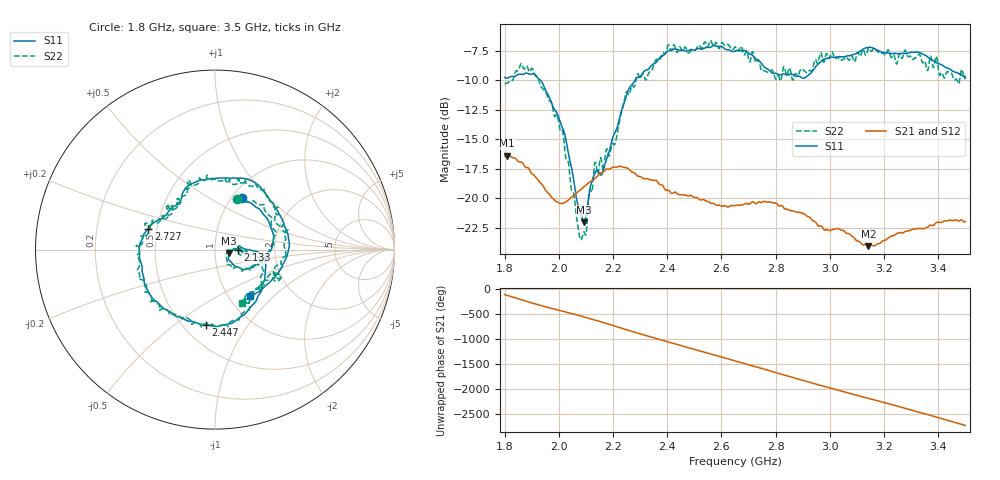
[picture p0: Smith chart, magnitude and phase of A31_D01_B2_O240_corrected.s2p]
! Created with skrf 1.9.0 (http://scikit-rf.org).
# Hz S RI R 50.0
!freq ReS11 ImS11 ReS21 ImS21 ReS12 ImS12 ReS22 ImS22
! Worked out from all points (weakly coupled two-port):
!   1601 points, 1.8 GHz to 3.5 GHz, reference 50 ohm
!   highest |S21| = -16.39 dB at 1.81 GHz (marker M1); lowest = -24.1 dB at 3.142 GHz (marker M2)
!   lowest |S11| = -22.0 dB at 2.093 GHz (marker M3), VSWR 1.17, Z = 58.2 - j2.43 ohm
!   |S11| at or under -10 dB: 1.932 GHz to 2.281 GHz (348.6 MHz wide, 16.5 % of centre)
!   |S22| runs from -23.5 to -6.6 dB; largest |S21 - S12| = 0.003
!   S11 on the Smith chart (normalised r, x): 1.8 GHz: 1.12, +0.72; 2.133 GHz: 1.29, -0.00; 2.447 GHz: 0.64, -0.65; 2.727 GHz: 0.45, +0.12; 3.5 GHz: 1.25, -0.72
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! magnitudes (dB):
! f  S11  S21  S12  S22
! 1.8 GHz  -9.8  -16.4  -16.4  -10.3
! 1.81 GHz  -9.8  -16.4  -16.4  -10.3
! 1.859 GHz  -9.5  -16.9  -17.0  -8.6
! 1.901 GHz  -9.5  -17.9  -17.9  -9.0
! 1.969 GHz  -11.7  -19.8  -19.8  -11.8
! 2.014 GHz  -14.0  -20.4  -20.4  -14.3
! 2.084 GHz  -21.5  -19.2  -19.2  -23.5
! 2.093 GHz  -22.0  -19.0  -19.1  -22.8
! 2.133 GHz  -17.9  -18.3  -18.3  -17.0
! 2.161 GHz  -17.8  -17.8  -17.8  -17.4
! 2.208 GHz  -14.4  -17.4  -17.3  -15.4
! 2.261 GHz  -10.6  -17.6  -17.6  -11.2
! 2.367 GHz  -8.2  -18.7  -18.7  -8.3
! 2.447 GHz  -7.5  -19.7  -19.7  -7.2
! 2.65 GHz  -7.6  -20.6  -20.6  -7.2
! 2.727 GHz  -8.2  -20.5  -20.5  -8.5
! 2.812 GHz  -9.5  -20.6  -20.5  -9.7
! 2.934 GHz  -9.3  -21.8  -21.8  -9.2
! 3.142 GHz  -7.2  -24.1  -24.0  -7.3
! 3.217 GHz  -7.7  -23.3  -23.3  -7.5
! 3.33 GHz  -7.7  -22.5  -22.6  -7.8
! 3.5 GHz  -9.8  -22.0  -22.0  -9.6
